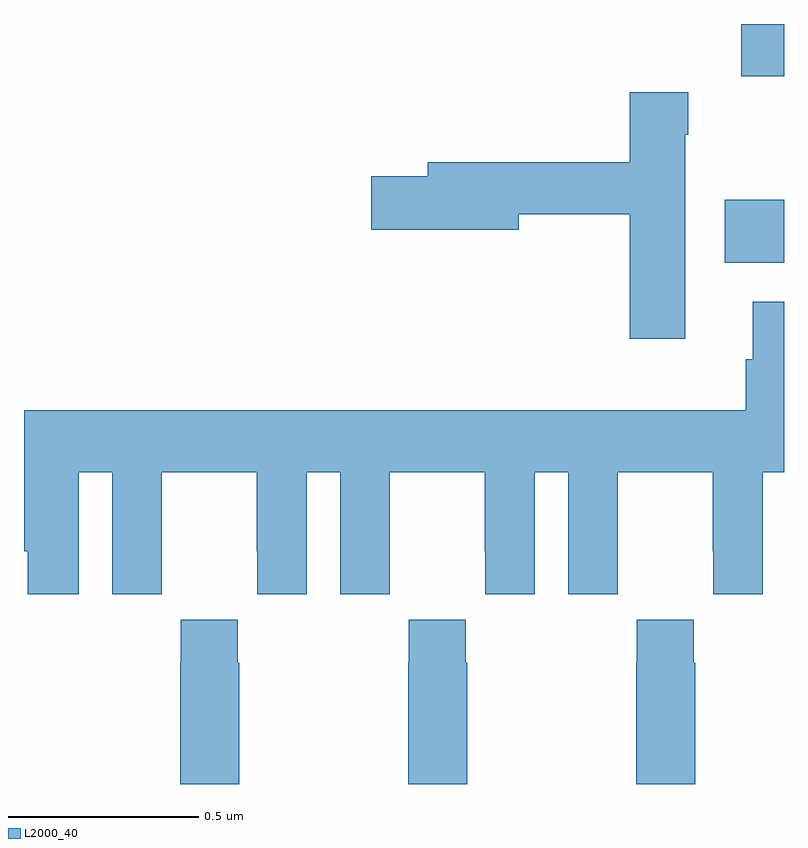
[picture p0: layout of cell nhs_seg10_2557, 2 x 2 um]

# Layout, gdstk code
import gdstk
lib = gdstk.Library(unit=1e-6, precision=1e-09)
def R(c, l, rs):  # rectangles x0, y0, x1, y1
    for r in rs: c.add(gdstk.rectangle(r[:2], r[2:], *l))
def P(c, l, *ps):  # polygons
    for p in ps: c.add(gdstk.Polygon(p, *l))
L2000_40 = (2000, 40)

nhs_seg10_2557 = lib.new_cell('nhs_seg10_2557')
R(nhs_seg10_2557, L2000_40, [(143.844,1296.872,144,1297.038), (143.888,1297.362,144,1297.5)])
P(nhs_seg10_2557, L2000_40, [(143.74,1297.208),(143.748,1297.208),(143.748,1297.321),(143.594,1297.321),(143.594,1297.136),(143.063,1297.136),(143.063,1297.1),(142.914,1297.1),(142.914,1296.958),(143.302,1296.958),(143.302,1297),(143.594,1297),(143.594,1296.672),(143.74,1296.672)],
  [(142.144,1296.32),(142.232,1296.32),(142.232,1296),(142.362,1296),(142.362,1296.112),(142.363,1296.112),(142.363,1296.32),(142.613,1296.32),(142.613,1296.112),(142.614,1296.112),(142.614,1296),(142.744,1296),(142.744,1296.32),(142.832,1296.32),(142.832,1296),(142.962,1296),(142.962,1296.112),(142.963,1296.112),(142.963,1296.32),(143.213,1296.32),(143.213,1296.112),(143.214,1296.112),(143.214,1296),(143.344,1296),(143.344,1296.32),(143.432,1296.32),(143.432,1296),(143.562,1296),(143.562,1296.112),(143.563,1296.112),(143.563,1296.32),(143.813,1296.32),(143.813,1296.112),(143.814,1296.112),(143.814,1296),(143.944,1296),(143.944,1296.32),(144,1296.32),(144,1296.769),(143.918,1296.769),(143.918,1296.618),(143.899,1296.618),(143.899,1296.484),(142,1296.484),(142,1296.32),(142.001,1296.32),(142.001,1296.112),(142.01,1296.112),(142.01,1296),(142.144,1296)],
  [(142.566,1295.819),(142.563,1295.819),(142.563,1295.932),(142.413,1295.932),(142.413,1295.819),(142.411,1295.819),(142.411,1295.5),(142.566,1295.5)],
  [(143.166,1295.819),(143.163,1295.819),(143.163,1295.932),(143.013,1295.932),(143.013,1295.819),(143.011,1295.819),(143.011,1295.5),(143.166,1295.5)],
  [(143.766,1295.819),(143.763,1295.819),(143.763,1295.932),(143.613,1295.932),(143.613,1295.819),(143.611,1295.819),(143.611,1295.5),(143.766,1295.5)])

lib.write_gds('nhs_seg10_2557.gds')
